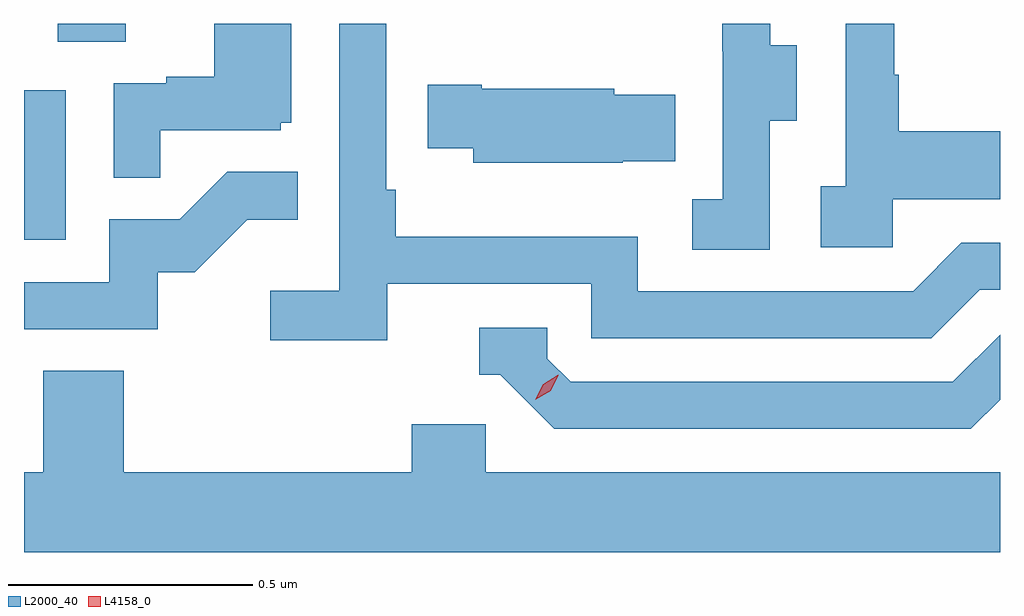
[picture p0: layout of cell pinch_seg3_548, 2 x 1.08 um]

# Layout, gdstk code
import gdstk
lib = gdstk.Library(unit=1e-6, precision=1e-09)
def R(c, l, rs):  # rectangles x0, y0, x1, y1
    for r in rs: c.add(gdstk.rectangle(r[:2], r[2:], *l))
def P(c, l, *ps):  # polygons
    for p in ps: c.add(gdstk.Polygon(p, *l))
L2000_40 = (2000, 40)
L4158_0 = (4158, 0)

pinch_seg3_548 = lib.new_cell('pinch_seg3_548')
R(pinch_seg3_548, L2000_40, [(1107.122,704.22,1107.208,704.527), (1107.191,704.626,1107.331,704.663)])
P(pinch_seg3_548, L2000_40, [(1108.902,704.303),(1109.122,704.303),(1109.122,704.443),(1108.915,704.443),(1108.915,704.558),(1108.905,704.558),(1108.905,704.663),(1108.806,704.663),(1108.806,704.33),(1108.755,704.33),(1108.755,704.205),(1108.902,704.205)],
  [(1108.65,704.464),(1108.705,704.464),(1108.705,704.619),(1108.651,704.619),(1108.651,704.663),(1108.553,704.663),(1108.553,704.607),(1108.554,704.607),(1108.554,704.303),(1108.491,704.303),(1108.491,704.2),(1108.65,704.2)],
  [(1107.866,704.13),(1108.284,704.13),(1108.284,704.019),(1108.981,704.019),(1109.08,704.118),(1109.122,704.118),(1109.122,704.214),(1109.043,704.214),(1108.944,704.115),(1108.38,704.115),(1108.38,704.227),(1107.884,704.227),(1107.884,704.323),(1107.864,704.323),(1107.864,704.663),(1107.768,704.663),(1107.768,704.116),(1107.627,704.116),(1107.627,704.014),(1107.866,704.014)],
  [(1107.401,704.445),(1107.648,704.445),(1107.648,704.46),(1107.67,704.46),(1107.67,704.663),(1107.512,704.663),(1107.512,704.554),(1107.413,704.554),(1107.413,704.541),(1107.306,704.541),(1107.306,704.347),(1107.401,704.347)],
  [(1108.349,704.381),(1108.457,704.381),(1108.457,704.518),(1108.332,704.518),(1108.332,704.53),(1108.06,704.53),(1108.06,704.538),(1107.949,704.538),(1107.949,704.408),(1108.043,704.408),(1108.043,704.378),(1108.349,704.378)],
  [(1107.396,704.154),(1107.472,704.154),(1107.579,704.261),(1107.683,704.261),(1107.683,704.36),(1107.539,704.36),(1107.441,704.262),(1107.297,704.262),(1107.297,704.133),(1107.122,704.133),(1107.122,704.037),(1107.396,704.037)],
  [(1109.122,703.893),(1109.122,704.026),(1109.025,703.929),(1108.242,703.929),(1108.194,703.977),(1108.194,704.04),(1108.055,704.04),(1108.055,703.944),(1108.098,703.944),(1108.209,703.833),(1109.062,703.833)],
  [(1107.917,703.842),(1107.917,703.744),(1107.326,703.744),(1107.326,703.952),(1107.161,703.952),(1107.161,703.744),(1107.122,703.744),(1107.122,703.58),(1109.122,703.58),(1109.122,703.744),(1108.068,703.744),(1108.068,703.842)])
P(pinch_seg3_548, L4158_0, [(1108.17,703.892),(1108.17,703.892),(1108.186,703.924),(1108.217,703.944),(1108.217,703.944),(1108.217,703.943),(1108.201,703.911),(1108.17,703.892)])

lib.write_gds('pinch_seg3_548.gds')
